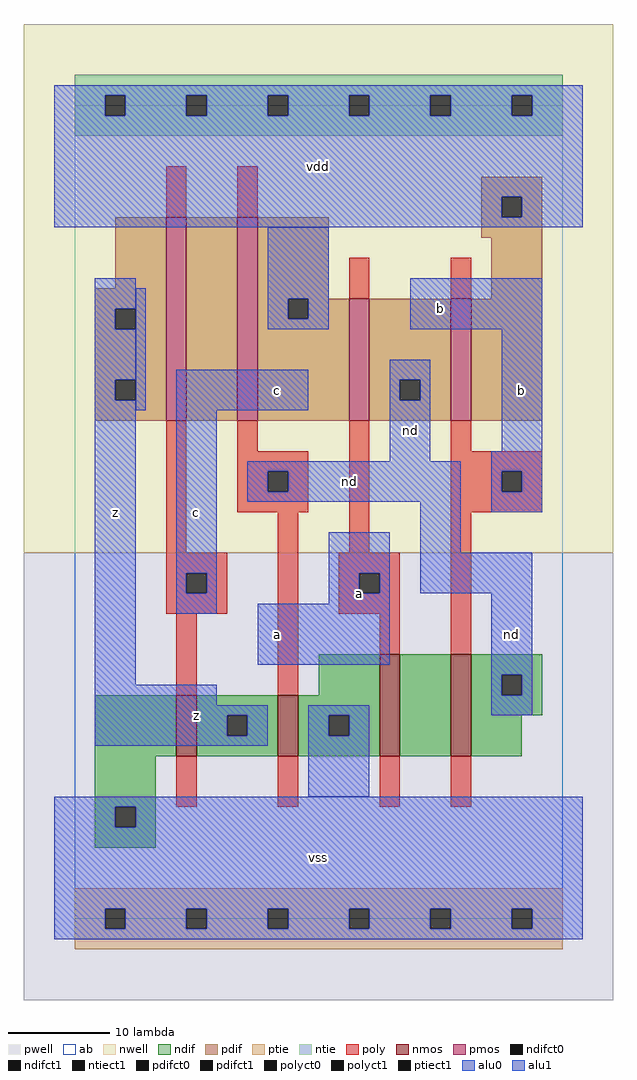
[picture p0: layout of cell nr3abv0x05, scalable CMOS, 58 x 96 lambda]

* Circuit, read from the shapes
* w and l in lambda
.subckt nr3abv0x05 a b c nd vdd vss z
M1 z c vss vss nfet w=6 l=2
M2 vss nd z vss nfet w=6 l=2
M3 n1 a vss vss nfet w=10 l=2
M4 nd b n1 vss nfet w=10 l=2
M5 n2 c z vdd pfet w=20 l=2
M6 vdd nd n2 vdd pfet w=20 l=2
M7 nd a vdd vdd pfet w=12 l=2
M8 vdd b nd vdd pfet w=12 l=2
.ends

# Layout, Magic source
magic
tech scmos
<< ab >>
rect 0 0 48 80
<< nwell >>
rect -5 36 53 88
<< pwell >>
rect -5 -8 53 36
<< poly >>
rect 9 69 11 74
rect 16 69 18 74
rect 27 61 29 65
rect 37 61 39 65
rect 9 36 11 49
rect 16 46 18 49
rect 16 44 23 46
rect 16 42 19 44
rect 21 42 23 44
rect 16 40 23 42
rect 9 34 15 36
rect 9 32 11 34
rect 13 32 15 34
rect 9 30 15 32
rect 10 22 12 30
rect 20 22 22 40
rect 27 36 29 49
rect 37 46 39 49
rect 37 44 46 46
rect 37 42 42 44
rect 44 42 46 44
rect 37 40 46 42
rect 26 34 32 36
rect 26 32 28 34
rect 30 32 32 34
rect 26 30 32 32
rect 30 26 32 30
rect 37 26 39 40
rect 10 11 12 16
rect 20 11 22 16
rect 30 11 32 16
rect 37 11 39 16
<< ndif >>
rect 24 22 30 26
rect 2 16 10 22
rect 12 20 20 22
rect 12 18 15 20
rect 17 18 20 20
rect 12 16 20 18
rect 22 20 30 22
rect 22 18 25 20
rect 27 18 30 20
rect 22 16 30 18
rect 32 16 37 26
rect 39 24 46 26
rect 39 22 42 24
rect 44 22 46 24
rect 39 20 46 22
rect 39 16 44 20
rect 2 11 8 16
rect 2 9 4 11
rect 6 9 8 11
rect 2 7 8 9
<< pdif >>
rect 40 71 46 73
rect 40 69 42 71
rect 44 69 46 71
rect 4 62 9 69
rect 2 60 9 62
rect 2 58 4 60
rect 6 58 9 60
rect 2 53 9 58
rect 2 51 4 53
rect 6 51 9 53
rect 2 49 9 51
rect 11 49 16 69
rect 18 61 25 69
rect 40 67 46 69
rect 41 61 46 67
rect 18 59 21 61
rect 23 59 27 61
rect 18 49 27 59
rect 29 53 37 61
rect 29 51 32 53
rect 34 51 37 53
rect 29 49 37 51
rect 39 49 46 61
<< alu1 >>
rect -2 81 50 82
rect -2 79 3 81
rect 5 79 11 81
rect 13 79 19 81
rect 21 79 27 81
rect 29 79 35 81
rect 37 79 43 81
rect 45 79 50 81
rect -2 71 50 79
rect -2 69 42 71
rect 44 69 50 71
rect -2 68 50 69
rect 2 60 6 63
rect 2 58 4 60
rect 2 53 6 58
rect 2 51 4 53
rect 2 23 6 51
rect 33 58 46 63
rect 10 50 23 54
rect 10 34 14 50
rect 42 46 46 58
rect 10 32 11 34
rect 13 32 14 34
rect 10 30 14 32
rect 25 34 31 38
rect 25 32 28 34
rect 30 32 31 34
rect 41 44 46 46
rect 41 42 42 44
rect 44 42 46 44
rect 41 40 46 42
rect 25 31 31 32
rect 18 25 31 31
rect 2 21 14 23
rect 2 20 19 21
rect 2 18 15 20
rect 17 18 19 20
rect 2 17 19 18
rect -2 11 50 12
rect -2 9 4 11
rect 6 9 50 11
rect -2 1 50 9
rect -2 -1 3 1
rect 5 -1 11 1
rect 13 -1 19 1
rect 21 -1 27 1
rect 29 -1 35 1
rect 37 -1 43 1
rect 45 -1 50 1
rect -2 -2 50 -1
<< ptie >>
rect 0 1 48 3
rect 0 -1 3 1
rect 5 -1 11 1
rect 13 -1 19 1
rect 21 -1 27 1
rect 29 -1 35 1
rect 37 -1 43 1
rect 45 -1 48 1
rect 0 -3 48 -1
<< ntie >>
rect 0 81 48 83
rect 0 79 3 81
rect 5 79 11 81
rect 13 79 19 81
rect 21 79 27 81
rect 29 79 35 81
rect 37 79 43 81
rect 45 79 48 81
rect 0 77 48 79
<< nmos >>
rect 10 16 12 22
rect 20 16 22 22
rect 30 16 32 26
rect 37 16 39 26
<< pmos >>
rect 9 49 11 69
rect 16 49 18 69
rect 27 49 29 61
rect 37 49 39 61
<< polyct0 >>
rect 19 42 21 44
<< polyct1 >>
rect 11 32 13 34
rect 42 42 44 44
rect 28 32 30 34
<< ndifct0 >>
rect 25 18 27 20
rect 42 22 44 24
<< ndifct1 >>
rect 15 18 17 20
rect 4 9 6 11
<< ntiect1 >>
rect 3 79 5 81
rect 11 79 13 81
rect 19 79 21 81
rect 27 79 29 81
rect 35 79 37 81
rect 43 79 45 81
<< ptiect1 >>
rect 3 -1 5 1
rect 11 -1 13 1
rect 19 -1 21 1
rect 27 -1 29 1
rect 35 -1 37 1
rect 43 -1 45 1
<< pdifct0 >>
rect 21 59 23 61
rect 32 51 34 53
<< pdifct1 >>
rect 42 69 44 71
rect 4 58 6 60
rect 4 51 6 53
<< alu0 >>
rect 6 50 7 62
rect 19 61 25 68
rect 19 59 21 61
rect 23 59 25 61
rect 19 58 25 59
rect 31 53 35 55
rect 31 51 32 53
rect 34 51 35 53
rect 31 45 35 51
rect 17 44 38 45
rect 17 42 19 44
rect 21 42 38 44
rect 17 41 38 42
rect 34 36 38 41
rect 34 32 45 36
rect 41 24 45 32
rect 41 22 42 24
rect 44 22 45 24
rect 23 20 29 21
rect 41 20 45 22
rect 23 18 25 20
rect 27 18 29 20
rect 23 12 29 18
<< labels >>
rlabel alu0 33 48 33 48 6 nd
rlabel alu0 43 28 43 28 6 nd
rlabel alu0 27 43 27 43 6 nd
rlabel alu1 4 40 4 40 6 z
rlabel alu1 12 20 12 20 6 z
rlabel alu1 20 28 20 28 6 a
rlabel alu1 12 40 12 40 6 c
rlabel alu1 20 52 20 52 6 c
rlabel alu1 24 6 24 6 6 vss
rlabel alu1 28 32 28 32 6 a
rlabel alu1 24 74 24 74 6 vdd
rlabel alu1 44 52 44 52 6 b
rlabel alu1 36 60 36 60 6 b
<< end >>
